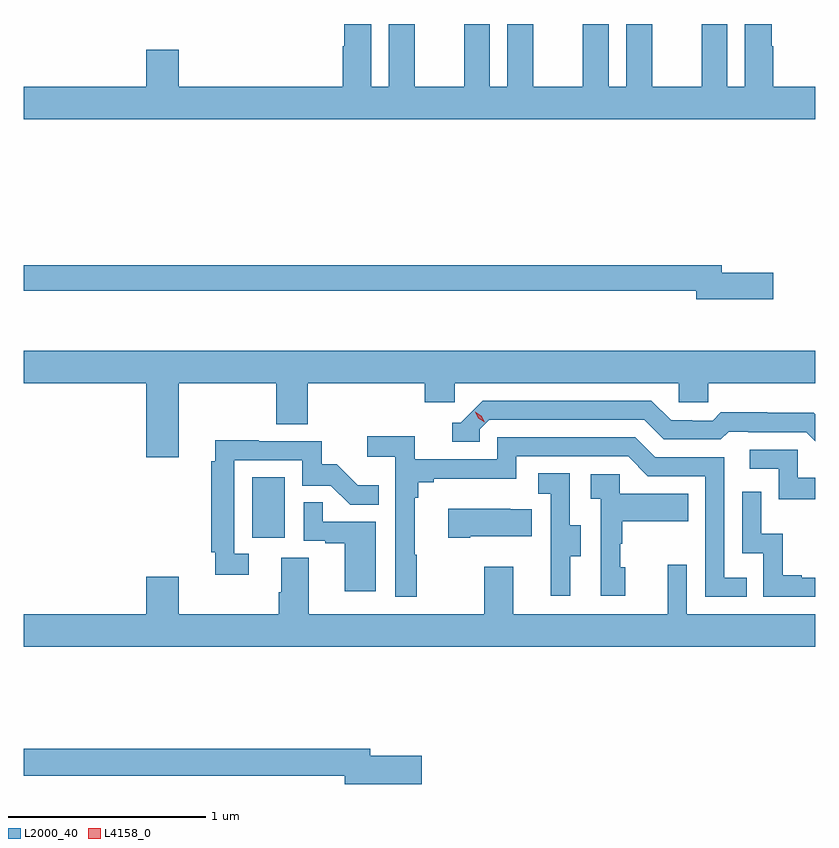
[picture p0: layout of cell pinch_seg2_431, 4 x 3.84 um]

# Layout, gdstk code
import gdstk
lib = gdstk.Library(unit=1e-6, precision=1e-09)
def R(c, l, rs):  # rectangles x0, y0, x1, y1
    for r in rs: c.add(gdstk.rectangle(r[:2], r[2:], *l))
def P(c, l, *ps):  # polygons
    for p in ps: c.add(gdstk.Polygon(p, *l))
L2000_40 = (2000, 40)
L4158_0 = (4158, 0)

pinch_seg2_431 = lib.new_cell('pinch_seg2_431')
R(pinch_seg2_431, L2000_40, [(920.786,622.878,920.95,623.185)])
P(pinch_seg2_431, L2000_40, [(923.413,625.361),(923.413,625.474),(923.276,625.474),(923.276,625.156),(923.188,625.156),(923.188,625.474),(923.057,625.474),(923.057,625.156),(922.807,625.156),(922.807,625.474),(922.676,625.474),(922.676,625.156),(922.588,625.156),(922.588,625.474),(922.457,625.474),(922.457,625.156),(922.207,625.156),(922.207,625.474),(922.076,625.474),(922.076,625.156),(921.988,625.156),(921.988,625.474),(921.857,625.474),(921.857,625.156),(921.607,625.156),(921.607,625.474),(921.476,625.474),(921.476,625.156),(921.388,625.156),(921.388,625.474),(921.251,625.474),(921.251,625.361),(921.245,625.361),(921.245,625.156),(920.416,625.156),(920.416,625.345),(920.252,625.345),(920.252,625.156),(919.632,625.156),(919.632,624.992),(923.632,624.992),(923.632,625.156),(923.42,625.156),(923.42,625.361)],
  [(923.419,624.218),(923.158,624.218),(923.158,624.254),(919.632,624.254),(919.632,624.126),(923.03,624.126),(923.03,624.083),(923.419,624.083)],
  [(920.416,623.66),(920.908,623.66),(920.908,623.452),(921.068,623.452),(921.068,623.66),(921.659,623.66),(921.659,623.562),(921.81,623.562),(921.81,623.66),(922.941,623.66),(922.941,623.562),(923.091,623.562),(923.091,623.66),(923.632,623.66),(923.632,623.824),(919.632,623.824),(919.632,623.66),(920.252,623.66),(920.252,623.286),(920.416,623.286)],
  [(921.936,623.427),(921.984,623.475),(922.767,623.475),(922.866,623.376),(923.155,623.376),(923.194,623.415),(923.293,623.415),(923.293,623.412),(923.586,623.412),(923.632,623.366),(923.632,623.501),(923.624,623.509),(923.388,623.509),(923.388,623.512),(923.155,623.512),(923.113,623.469),(923.01,623.469),(923.01,623.472),(922.903,623.472),(922.804,623.571),(921.951,623.571),(921.84,623.46),(921.797,623.46),(921.797,623.364),(921.936,623.364)],
  [(921.619,622.793),(921.607,622.793),(921.607,623.081),(921.626,623.081),(921.626,623.158),(921.703,623.158),(921.703,623.177),(922.122,623.177),(922.122,623.289),(922.686,623.289),(922.785,623.19),(923.076,623.19),(923.076,622.581),(923.285,622.581),(923.285,622.677),(923.172,622.677),(923.172,623.286),(922.822,623.286),(922.723,623.385),(922.026,623.385),(922.026,623.274),(921.608,623.274),(921.608,623.39),(921.369,623.39),(921.369,623.288),(921.51,623.288),(921.51,622.581),(921.619,622.581)],
  [(920.77,622.797),(920.697,622.797),(920.697,623.271),(921.039,623.271),(921.039,623.142),(921.183,623.142),(921.281,623.044),(921.425,623.044),(921.425,623.143),(921.321,623.143),(921.214,623.25),(921.138,623.25),(921.138,623.367),(920.819,623.367),(920.819,623.372),(920.6,623.372),(920.6,623.264),(920.581,623.264),(920.581,622.804),(920.6,622.804),(920.6,622.692),(920.77,622.692)],
  [(923.632,623.181),(923.544,623.181),(923.544,623.322),(923.301,623.322),(923.301,623.226),(923.448,623.226),(923.448,623.073),(923.632,623.073)],
  [(922.393,622.786),(922.447,622.786),(922.447,622.941),(922.392,622.941),(922.392,623.204),(922.233,623.204),(922.233,623.101),(922.296,623.101),(922.296,622.797),(922.295,622.797),(922.295,622.584),(922.393,622.584)],
  [(922.672,622.728),(922.647,622.728),(922.647,622.847),(922.657,622.847),(922.657,622.961),(922.991,622.961),(922.991,623.101),(922.644,623.101),(922.644,623.199),(922.497,623.199),(922.497,623.075),(922.548,623.075),(922.548,622.584),(922.672,622.584)],
  [(923.632,622.677),(923.563,622.677),(923.563,622.69),(923.468,622.69),(923.468,622.898),(923.358,622.898),(923.358,623.11),(923.262,623.11),(923.262,622.8),(923.37,622.8),(923.37,622.581),(923.632,622.581)],
  [(921.412,622.959),(921.143,622.959),(921.143,623.057),(921.048,623.057),(921.048,622.863),(921.155,622.863),(921.155,622.851),(921.254,622.851),(921.254,622.608),(921.412,622.608)],
  [(921.889,622.886),(922.199,622.886),(922.199,623.023),(922.091,623.023),(922.091,623.026),(921.777,623.026),(921.777,622.879),(921.889,622.879)],
  [(923.632,622.492),(922.983,622.492),(922.983,622.741),(922.886,622.741),(922.886,622.492),(922.105,622.492),(922.105,622.732),(921.958,622.732),(921.958,622.492),(921.073,622.492),(921.073,622.778),(920.933,622.778),(920.933,622.604),(920.921,622.604),(920.921,622.492),(920.416,622.492),(920.416,622.681),(920.252,622.681),(920.252,622.492),(919.632,622.492),(919.632,622.328),(923.632,622.328)],
  [(921.643,621.776),(921.382,621.776),(921.382,621.812),(919.632,621.812),(919.632,621.676),(921.254,621.676),(921.254,621.634),(921.643,621.634)])
P(pinch_seg2_431, L4158_0, [(921.961,623.462),(921.93,623.481),(921.913,623.514),(921.913,623.514),(921.914,623.514),(921.945,623.494),(921.961,623.462),(921.961,623.462)])

lib.write_gds('pinch_seg2_431.gds')
